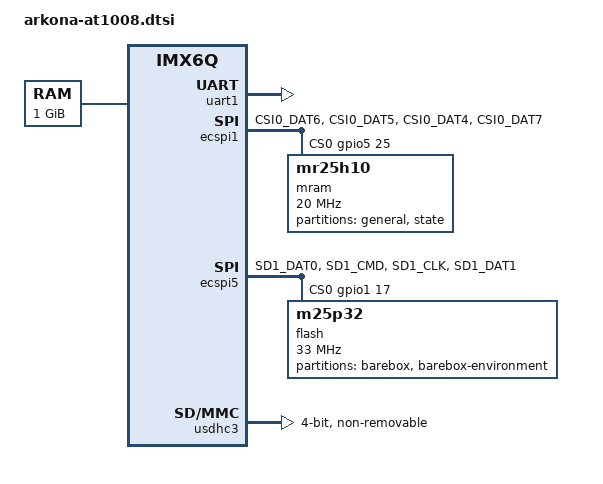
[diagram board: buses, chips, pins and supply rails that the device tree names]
/*
 * Copyright (C) 2013 Pengutronix <kernel@pengutronix.de>
 *
 * This file describes the i.MX6D CPU module
 */

#include "imx6q.dtsi"

/*
 * Arkona AT1008: CPU Module
 * - i.MX6D SoC
 * - PMIC
 *   - LTC3676-1
 * - DDR3 SDRAM
 *   - four devices of type MT41J128M16HA
 *   - 16 M x 16 bit x 8 banks = 256 MiB per device
 *   - 1GiB full memory
 *   - speed grade 528MHz
 * - µSD card slot
 *   - no card detect signal
 *   - no write protect signal
 * - MRAM via SPI
 *   - EverSpin MR25H10
 *   - 128 kiB
 *   - CS: GPIO5[25]
 * - NOR flash
 *   - Micron M25P32-VMW6G (boot source)
 *   - 32 MBit, 4 MiB
 *   - CPOL=CPHA=0
 *   - 64 sectors, 512 kiB per sector, 256 bytes per page
 *   - 75 MHz clock, but not for READ (limited 33 MHz instead)
 *     Note: there is no such speed limit if the driver uses the READFAST feature
 *   - CS: GPIO1[17]
 */

/ {
	chosen {
		linux,stdout-path = &uart1;

		environment-spi {
			compatible = "barebox,environment";
			device-path = &flash, "partname:barebox-environment";
			status = "disabled";
		};
	};

	memory {
		reg = <0x10000000 0x40000000>;
	};

	aliases {
		/* there's only one SD card slot. Let it always be the first one */
		mmc0 = &usdhc3;
		/* use these aliases at run-time to be independent from initializing order */
		spiflash = &flash;
		mram = &mram;
		/* make the 'state' tool happy */
		state = &state;
	};

	state: state@0 {
		magic = <0x4d433230>;
		compatible = "barebox,state";
		backend-type = "raw";
		backend = &mram, "partname:state";
		#address-cells = <1>;
		#size-cells = <1>;

		active_partition@1 {
			reg = <0 4>;
			type = "enum32";
			names = "none", "user1", "user2", "factory";
			default = <0>;
		};

		boot_trial@2 {
			reg = <4 4>;
			type = "uint32";
			default = <0x0>;
		};

		user1_partition@3 {
			/* content description of 'user1' partition */
			reg = <8 4>;
			type = "enum32";
			names = "invalid", "valid";
			default = <0>;
		};

		user2_partition@4 {
			/* content description of 'user1' partition */
			reg = <12 4>;
			type = "enum32";
			names = "invalid", "valid";
			default = <0>;
		};
	};
};

&uart1 {
	pinctrl-names = "default";
	pinctrl-0 = <&pinctrl_uart1_1>;
	status = "okay";
};

&ecspi1 {
	fsl,spi-num-chipselects = <1>;
	cs-gpios = <&gpio5 25 0>; /* MX6QDL_PAD_CSI0_DAT7__GPIO5_IO25 */
	pinctrl-names = "default";
	pinctrl-0 = <&pinctrl_ecspi1_3>;
	status = "okay";

	mram: mr25h10@0 {
		compatible = "mr25h10";
		spi-max-frequency = <20000000>;
		reg = <0>;

		#address-cells = <1>;
		#size-cells = <1>;

		/* full size of this SPI MRAM '25Q10' memory is 128 kiB */
		partition@0 {
			label = "general";
			reg = <0x00000 0x1fe00>; /* free for general purpose */
		};

		/*
		 * the 'state' comes with 16 bytes overhead
		 * and 16 bytes (4 words) of payload. We need to
		 * reserve the space for at least two copies here
		 */
		partition@1 {
			label = "state";
			reg = <0x1fe00 0x0200>; /* reserved for 'state' purpose */
		};
	};
};

&ecspi5 {
	fsl,spi-num-chipselects = <1>;
	cs-gpios = <&gpio1 17 0>; /* MX6QDL_PAD_SD1_DAT1__GPIO1_IO17 */
	pinctrl-names = "default";
	pinctrl-0 = <&pinctrl_ecspi5_1>;
	status = "okay";

	flash: m25p32@0 {
		compatible = "m25p32", "m25p80";
		spi-max-frequency = <33000000>;
		reg = <0>;

		#address-cells = <1>;
		#size-cells = <1>;

		partition@0 {
			label = "barebox";
			reg = <0x0 0x80000>;
		};

		partition@1 {
			label = "barebox-environment";
			reg = <0x80000 0x20000>;
		};
	};
};

&iomuxc {
	/* this one connects the MRAM */
	ecspi1 {
		pinctrl_ecspi1_3: ecspi1grp-3 {
			fsl,pins = <
				MX6QDL_PAD_CSI0_DAT6__ECSPI1_MISO 0x00010040
				MX6QDL_PAD_CSI0_DAT5__ECSPI1_MOSI 0x00010049
				MX6QDL_PAD_CSI0_DAT4__ECSPI1_SCLK 0x00010091 /* 40 MHz */
				MX6QDL_PAD_CSI0_DAT7__GPIO5_IO25 0x00010049
			>;
		};
	};

	/* this one connects the FPGA on the baseboard */
	ecspi3 {
		pinctrl_ecspi3_1: ecspi3grp-1 {
			fsl,pins = <
				MX6QDL_ECSPI3_PINGRP1
			>;
		};
	};

	/* this one connects the NOR */
	ecspi5 {
		pinctrl_ecspi5_1: ecspi5grp-1 {
			fsl,pins = <
				MX6QDL_PAD_SD1_DAT0__ECSPI5_MISO 0x00010040
				MX6QDL_PAD_SD1_CMD__ECSPI5_MOSI 0x00010049
				MX6QDL_PAD_SD1_CLK__ECSPI5_SCLK 0x00010091 /* 75 MHz */
				MX6QDL_PAD_SD1_DAT1__GPIO1_IO17 0x00010049
			>;
		};
	};

	/* generic debugging UART */
	uart1 {
		pinctrl_uart1_1: uart1grp-1 {
			fsl,pins = <
				MX6QDL_UART1_PINGRP1
			>;
		};
	};

	fec {
		pinctrl_enet_1: fecgrp-1 {
			fsl,pins = <
				MX6QDL_ENET_PINGRP1
			>;
		};
	};

	usdhc3 {
		pinctrl_usdhc3_2: usdhc3grp-2 {
			fsl,pins = <
				MX6QDL_USDHC3_PINGRP_D4
			>;
		};
	};
};

/* the onboard micro SD card */
&usdhc3 {
	pinctrl-names = "default";
	pinctrl-0 = <&pinctrl_usdhc3_2>;
	status = "okay";
	non-removable; /* no CD available */
	bus-width = <4>;
};
